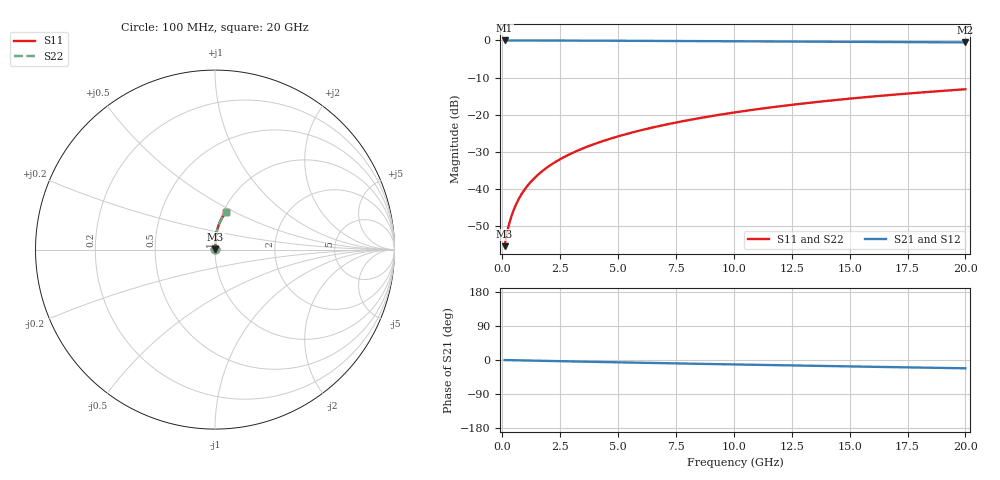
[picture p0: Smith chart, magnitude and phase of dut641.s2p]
! Touchstone file exported from HFSS 2024.1.0
!  File:  C:/UserFiles/LocalFiles/RDL_TSV_Batchsim/temp_RDL_bottom_641_1779784890.aedt
!  Generated:  04:43:41 PM May 26, 2026
!  Design:  RDL_bottom
!  Project:  temp_RDL_bottom_641_1779784890
!  Setup:  Setup1
!  Solution:  Sweep
! Variables:
!  dtsv = 10.80580581um
!  hbump = 3um
!  htsv = 65.06um
!  ldown = 307.61um
!  lrdl = 100um
!  p = 40
!  p1 = 43.35um
!  rhole = 1um
!  t = 450um
!  tdown = 4.82um
!  trdl = 3.915915916um
!  wdown = 19.41um
!  wrdl = 20um
# GHz S MA R 50.000000
! Terminal data exported
! Port[1] = RDL1_T1
! Port[2] = RDL1_T2
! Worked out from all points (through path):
!   200 points, 100 MHz to 20 GHz, reference 50 ohm
!   highest |S21| = -0.01 dB at 100 MHz (marker M1); lowest = -0.5 dB at 20 GHz (marker M2)
!   group delay of S21, straight-line fit = 3.02 ps
!   lowest |S11| = -55.3 dB at 100 MHz (marker M3), VSWR 1.00, Z = 50.1 + j0.11 ohm
!   |S11| at or under -10 dB: start of sweep to end of sweep
!   |S22| runs from -55.3 to -13.1 dB; largest |S21 - S12| = 3.3e-15
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0.1  0.001713 40.0  0.9987 -0.1  0.9987 -0.1  0.001713 40.0
! Gamma 0 0 0 0
! Port Impedance 50 0 50 0
0.2  0.002544 57.0  0.9986 -0.3  0.9986 -0.3  0.002544 57.0
0.3  0.003447 65.4  0.9985 -0.4  0.9985 -0.4  0.003447 65.4
0.4  0.00438 70.4  0.9984 -0.5  0.9984 -0.5  0.00438 70.4
0.5  0.005333 73.8  0.9984 -0.6  0.9984 -0.6  0.005333 73.8
0.6  0.0063 76.2  0.9983 -0.8  0.9983 -0.8  0.0063 76.2
0.8  0.008259 79.3  0.9981 -1.0  0.9981 -1.0  0.008259 79.3
1.1  0.01123 82.0  0.9979 -1.4  0.9979 -1.4  0.01123 82.0
1.5  0.01523 83.9  0.9974 -1.9  0.9974 -1.9  0.01523 83.9
1.8  0.01825 84.7  0.997 -2.3  0.997 -2.3  0.01825 84.7
2.1  0.02127 85.3  0.9966 -2.7  0.9966 -2.7  0.02127 85.3
2.7  0.02735 86.1  0.9955 -3.4  0.9955 -3.4  0.02735 86.1
3.5  0.03555 86.6  0.9937 -4.4  0.9937 -4.4  0.03555 86.6
4.2  0.04283 86.8  0.992 -5.2  0.992 -5.2  0.04283 86.8
5  0.05129 86.8  0.9897 -6.2  0.9897 -6.2  0.05129 86.8
5.9  0.061 86.6  0.9871 -7.2  0.9871 -7.2  0.061 86.6
6.8  0.0709 86.3  0.9843 -8.2  0.9843 -8.2  0.07089 86.3
8.4  0.0889 85.3  0.9791 -10.0  0.9791 -10.0  0.08889 85.3
10.1  0.1084 84.0  0.9735 -11.8  0.9735 -11.8  0.1084 84.0
13.4  0.1465 80.7  0.9626 -15.3  0.9626 -15.3  0.1465 80.7
16.7  0.1841 77.1  0.9516 -18.6  0.9516 -18.6  0.1841 77.1
20  0.2205 73.5  0.9403 -21.9  0.9403 -21.9  0.2204 73.5
